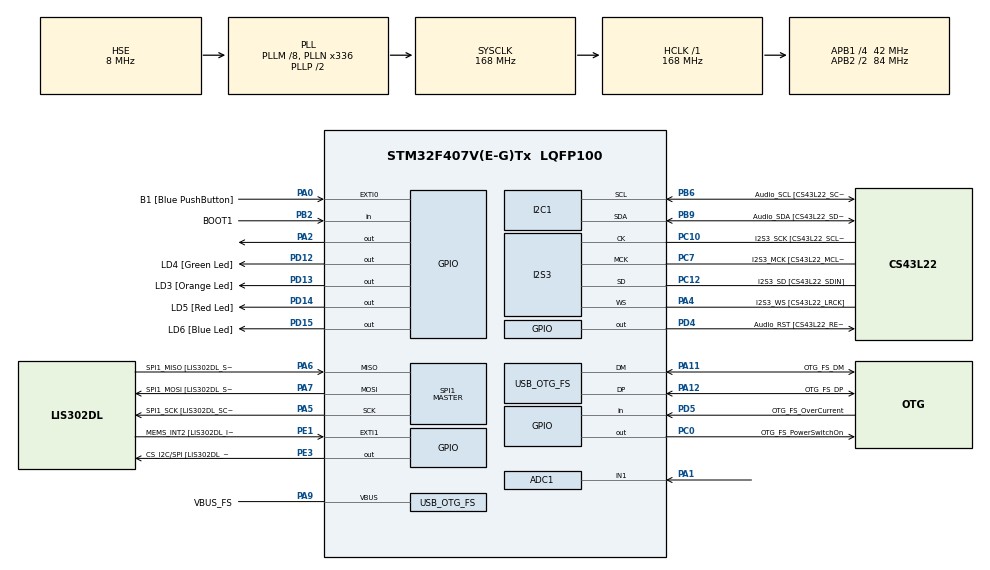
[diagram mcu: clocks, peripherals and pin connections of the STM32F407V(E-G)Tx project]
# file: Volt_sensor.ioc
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ADC1.Channel-1\#ChannelRegularConversion=ADC_CHANNEL_1
ADC1.ContinuousConvMode=ENABLE
ADC1.NbrOfConversionFlag=1
ADC1.Rank-1\#ChannelRegularConversion=1
ADC1.SamplingTime-1\#ChannelRegularConversion=ADC_SAMPLETIME_3CYCLES
ADC1.ScanConvMode=ENABLE
ADC1.master=1
I2S3.AudioFreq-Half_Duplex_Master=I2S_AUDIOFREQ_96K
I2S3.ErrorAudioFreq=-2.34 %
I2S3.ErrorAudioFreq-Half_Duplex_Master=0.8 %
I2S3.FullDuplexMode=I2S_FULLDUPLEXMODE_DISABLE
I2S3.Instance=SPI$Index
I2S3.RealAudioFreq=93.75 KHz
I2S3.RealAudioFreq-Half_Duplex_Master=96.774 KHz
I2S3.VirtualMode=I2S_MODE_MASTER
Mcu.Family=STM32F4
Mcu.Name=STM32F407V(E-G)Tx
Mcu.Package=LQFP100
NVIC.OTG_FS_IRQn=true\:0\:0\:false\:false\:true\:true\:true\:true
NVIC.PriorityGroup=NVIC_PRIORITYGROUP_0
PA0-WKUP.GPIO_Label=B1 [Blue PushButton]
PA0-WKUP.GPIO_ModeDefaultEXTI=GPIO_MODE_EVT_RISING
PA0-WKUP.GPIO_PuPd=GPIO_NOPULL
PA0-WKUP.Signal=GPXTI0
PA1.Signal=SharedAnalog_PA1
PA10.GPIO_Label=OTG_FS_ID
PA10.GPIO_Mode=GPIO_MODE_AF_PP
PA10.GPIO_PuPd=GPIO_NOPULL
PA10.GPIO_Speed=GPIO_SPEED_FREQ_LOW
PA10.Signal=USB_OTG_FS_ID
PA11.GPIO_Label=OTG_FS_DM
PA11.GPIO_Mode=GPIO_MODE_AF_PP
PA11.GPIO_PuPd=GPIO_NOPULL
PA11.GPIO_Speed=GPIO_SPEED_FREQ_LOW
PA11.Mode=Host_Only
PA11.Signal=USB_OTG_FS_DM
PA12.GPIO_Label=OTG_FS_DP
PA12.GPIO_Mode=GPIO_MODE_AF_PP
PA12.GPIO_PuPd=GPIO_NOPULL
PA12.GPIO_Speed=GPIO_SPEED_FREQ_LOW
PA12.Mode=Host_Only
PA12.Signal=USB_OTG_FS_DP
PA13.GPIO_Label=SWDIO
PA13.Mode=Serial_Wire
PA13.Signal=SYS_JTMS-SWDIO
PA14.GPIO_Label=SWCLK
PA14.Mode=Serial_Wire
PA14.Signal=SYS_JTCK-SWCLK
PA2.Signal=GPIO_Output
PA4.GPIO_Label=I2S3_WS [CS43L22_LRCK]
PA4.GPIO_Mode=GPIO_MODE_AF_PP
PA4.GPIO_PuPd=GPIO_NOPULL
PA4.GPIO_Speed=GPIO_SPEED_FREQ_LOW
PA4.Mode=Half_Duplex_Master
PA4.Signal=I2S3_WS
PA5.GPIO_Label=SPI1_SCK [LIS302DL_SCL/SPC]
PA5.GPIO_Mode=GPIO_MODE_AF_PP
PA5.GPIO_PuPd=GPIO_NOPULL
PA5.GPIO_Speed=GPIO_SPEED_FREQ_LOW
PA5.Mode=Full_Duplex_Master
PA5.Signal=SPI1_SCK
PA6.GPIO_Label=SPI1_MISO [LIS302DL_SDO]
PA6.GPIO_Mode=GPIO_MODE_AF_PP
PA6.GPIO_PuPd=GPIO_NOPULL
PA6.GPIO_Speed=GPIO_SPEED_FREQ_LOW
PA6.Mode=Full_Duplex_Master
PA6.Signal=SPI1_MISO
PA7.GPIO_Label=SPI1_MOSI [LIS302DL_SDA/SDI/SDO]
PA7.GPIO_Mode=GPIO_MODE_AF_PP
PA7.GPIO_PuPd=GPIO_NOPULL
PA7.GPIO_Speed=GPIO_SPEED_FREQ_LOW
PA7.Mode=Full_Duplex_Master
PA7.Signal=SPI1_MOSI
PA9.GPIO_Label=VBUS_FS
PA9.GPIO_Mode=GPIO_MODE_INPUT
PA9.GPIO_PuPd=GPIO_NOPULL
PA9.Mode=Activate_VBUS
PA9.Signal=USB_OTG_FS_VBUS
PB10.GPIO_Label=CLK_IN [MP45DT02_CLK]
PB10.GPIO_Mode=GPIO_MODE_AF_PP
PB10.GPIO_PuPd=GPIO_NOPULL
PB10.GPIO_Speed=GPIO_SPEED_FREQ_LOW
PB10.Signal=I2S2_CK
PB2.GPIO_Label=BOOT1
PB2.GPIO_Mode=GPIO_MODE_INPUT
PB2.GPIO_PuPd=GPIO_NOPULL
PB2.Signal=GPIO_Input
PB3.GPIO_Label=SWO
PB3.Signal=SYS_JTDO-SWO
PB6.GPIO_Label=Audio_SCL [CS43L22_SCL]
PB6.GPIO_Mode=GPIO_MODE_AF_OD
PB6.GPIO_Pu=GPIO_PULLUP
PB6.GPIO_PuPd=GPIO_NOPULL
PB6.GPIO_Speed=GPIO_SPEED_FREQ_LOW
PB6.Mode=I2C
PB6.Signal=I2C1_SCL
PB9.GPIO_Label=Audio_SDA [CS43L22_SDA]
PB9.GPIO_Mode=GPIO_MODE_AF_OD
PB9.GPIO_Pu=GPIO_PULLUP
PB9.GPIO_PuPd=GPIO_NOPULL
PB9.GPIO_Speed=GPIO_SPEED_FREQ_LOW
PB9.Mode=I2C
PB9.Signal=I2C1_SDA
PC0.GPIO_Label=OTG_FS_PowerSwitchOn
PC0.GPIO_PuPd=GPIO_NOPULL
PC0.GPIO_Speed=GPIO_SPEED_FREQ_LOW
PC0.PinState=GPIO_PIN_SET
PC0.Signal=GPIO_Output
PC10.GPIO_Label=I2S3_SCK [CS43L22_SCLK]
PC10.GPIO_Mode=GPIO_MODE_AF_PP
PC10.GPIO_PuPd=GPIO_NOPULL
PC10.GPIO_Speed=GPIO_SPEED_FREQ_LOW
PC10.Mode=Half_Duplex_Master
PC10.Signal=I2S3_CK
PC12.GPIO_Label=I2S3_SD [CS43L22_SDIN]
PC12.GPIO_Mode=GPIO_MODE_AF_PP
PC12.GPIO_PuPd=GPIO_NOPULL
PC12.GPIO_Speed=GPIO_SPEED_FREQ_LOW
PC12.Mode=Half_Duplex_Master
PC12.Signal=I2S3_SD
PC14-OSC32_IN.GPIO_Label=PC14-OSC32_IN
PC14-OSC32_IN.Mode=LSE-External-Oscillator
PC14-OSC32_IN.Signal=RCC_OSC32_IN
PC15-OSC32_OUT.GPIO_Label=PC15-OSC32_OUT
PC15-OSC32_OUT.Mode=LSE-External-Oscillator
PC15-OSC32_OUT.Signal=RCC_OSC32_OUT
PC3.GPIO_Label=PDM_OUT [MP45DT02_DOUT]
PC3.GPIO_Mode=GPIO_MODE_AF_PP
PC3.GPIO_PuPd=GPIO_NOPULL
PC3.GPIO_Speed=GPIO_SPEED_FREQ_LOW
PC3.Signal=I2S2_SD
PC7.GPIO_Label=I2S3_MCK [CS43L22_MCLK]
PC7.GPIO_Mode=GPIO_MODE_AF_PP
PC7.GPIO_PuPd=GPIO_NOPULL
PC7.GPIO_Speed=GPIO_SPEED_FREQ_LOW
PC7.Mode=Master_Clock_Activated
PC7.Signal=I2S3_MCK
PD12.GPIO_Label=LD4 [Green Led]
PD12.GPIO_PuPd=GPIO_NOPULL
PD12.GPIO_Speed=GPIO_SPEED_FREQ_LOW
PD12.Signal=GPIO_Output
PD13.GPIO_Label=LD3 [Orange Led]
PD13.GPIO_PuPd=GPIO_NOPULL
PD13.GPIO_Speed=GPIO_SPEED_FREQ_LOW
PD13.Signal=GPIO_Output
PD14.GPIO_Label=LD5 [Red Led]
PD14.GPIO_PuPd=GPIO_NOPULL
PD14.GPIO_Speed=GPIO_SPEED_FREQ_LOW
PD14.Signal=GPIO_Output
PD15.GPIO_Label=LD6 [Blue Led]
PD15.GPIO_PuPd=GPIO_NOPULL
PD15.GPIO_Speed=GPIO_SPEED_FREQ_LOW
PD15.Signal=GPIO_Output
PD4.GPIO_Label=Audio_RST [CS43L22_RESET]
PD4.GPIO_PuPd=GPIO_NOPULL
PD4.GPIO_Speed=GPIO_SPEED_FREQ_LOW
PD4.Signal=GPIO_Output
PD5.GPIO_Label=OTG_FS_OverCurrent
PD5.GPIO_Mode=GPIO_MODE_INPUT
PD5.GPIO_PuPd=GPIO_NOPULL
PD5.Signal=GPIO_Input
PE1.GPIO_Label=MEMS_INT2 [LIS302DL_INT2]
PE1.GPIO_ModeDefaultEXTI=GPIO_MODE_EVT_RISING
PE1.GPIO_PuPd=GPIO_NOPULL
PE1.Signal=GPXTI1
PE3.GPIO_Label=CS_I2C/SPI [LIS302DL_CS_I2C/SPI]
PE3.GPIO_PuPd=GPIO_NOPULL
PE3.GPIO_Speed=GPIO_SPEED_FREQ_LOW
PE3.Signal=GPIO_Output
PH0-OSC_IN.GPIO_Label=PH0-OSC_IN
PH0-OSC_IN.Mode=HSE-External-Oscillator
PH0-OSC_IN.Signal=RCC_OSC_IN
PH1-OSC_OUT.GPIO_Label=PH1-OSC_OUT
PH1-OSC_OUT.Mode=HSE-External-Oscillator
PH1-OSC_OUT.Signal=RCC_OSC_OUT
ProjectManager.HeapSize=0x200
ProjectManager.StackSize=0x400
ProjectManager.TargetToolchain=STM32CubeIDE
RCC.48MHZClocksFreq_Value=48000000
RCC.AHBFreq_Value=168000000
RCC.APB1CLKDivider=RCC_HCLK_DIV4
RCC.APB1Freq_Value=42000000
RCC.APB1TimFreq_Value=84000000
RCC.APB2CLKDivider=RCC_HCLK_DIV2
RCC.APB2Freq_Value=84000000
RCC.APB2TimFreq_Value=168000000
RCC.CortexFreq_Value=168000000
RCC.HCLKFreq_Value=168000000
RCC.HSE_VALUE=8000000
RCC.HSI_VALUE=16000000
RCC.PLLM=8
RCC.PLLN=336
RCC.PLLQ=7
RCC.SYSCLKFreq_VALUE=168000000
RCC.SYSCLKSource=RCC_SYSCLKSOURCE_PLLCLK
RCC.VCOOutputFreq_Value=336000000
SH.SharedAnalog_PA1.0=GPIO_Analog
SH.SharedAnalog_PA1.1=ADC1_IN1,IN1
SPI1.BaudRatePrescaler-Full_Duplex_Master=SPI_BAUDRATEPRESCALER_2
SPI1.CalculateBaudRate-Full_Duplex_Master=42.0 MBits/s
SPI1.Direction=SPI_DIRECTION_2LINES
SPI1.Mode=SPI_MODE_MASTER
SPI1.Mode-Full_Duplex_Master=SPI_MODE_MASTER
SPI1.VirtualType=VM_MASTER
USB_HOST.BSP.number=1
USB_HOST.USBH_HandleTypeDef-CDC_FS=hUsbHostFS
USB_HOST.VirtualModeFS=Cdc
USB_HOST0.BSP.STBoard=false
USB_HOST0.BSP.api=Unknown
USB_HOST0.BSP.instance=PC0
USB_HOST0.BSP.ip=GPIO
USB_HOST0.BSP.mode=Output
USB_HOST0.BSP.name=Drive_VBUS_FS
USB_HOST0.BSP.solution=PC0
USB_OTG_FS.VirtualMode=Host_Only
USB_OTG_FS.phy_itface=HCD_PHY_EMBEDDED
VP_USB_HOST_VS_USB_HOST_CDC_FS.Mode=CDC_FS
board=STM32F407G-DISC1

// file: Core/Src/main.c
/* USER CODE BEGIN Header */
/**
  ******************************************************************************
  * @file           : main.c
  * @brief          : Main program body
  ******************************************************************************
  * @attention
  *
  * Copyright (c) 2023 STMicroelectronics.
  * All rights reserved.
  *
  * This software is licensed under terms that can be found in the LICENSE file
  * in the root directory of this software component.
  * If no LICENSE file comes with this software, it is provided AS-IS.
  *
  ******************************************************************************
  */
/* USER CODE END Header */
#include "main.h"
#include "usb_host.h"

ADC_HandleTypeDef hadc1;

I2C_HandleTypeDef hi2c1;

I2S_HandleTypeDef hi2s3;

SPI_HandleTypeDef hspi1;

void SystemClock_Config(void);
static void MX_GPIO_Init(void);
static void MX_I2C1_Init(void);
static void MX_I2S3_Init(void);
static void MX_SPI1_Init(void);
static void MX_ADC1_Init(void);
void MX_USB_HOST_Process(void);

int main(void)
{

  /* MCU Configuration--------------------------------------------------------*/

  /* Reset of all peripherals, Initializes the Flash interface and the Systick. */
  HAL_Init();

  /* Configure the system clock */
  SystemClock_Config();

  /* Initialize all configured peripherals */
  MX_GPIO_Init();
  MX_I2C1_Init();
  MX_I2S3_Init();
  MX_SPI1_Init();
  MX_USB_HOST_Init();
  MX_ADC1_Init();

  /* Infinite loop */
  while (1)
  {
    MX_USB_HOST_Process();

    /* USER CODE BEGIN 3 */
    volatile int data;
    volatile float volt;
      	//float volt, angle;
    RCC->APB2ENR |= 1<<8; //Enable ADC1 clock
    RCC->AHB1ENR |= 1<<0; //GPIOA CLOCK

    ADC->CCR &= ~(3<<8); //PRE SCALER

    ADC1->CR1 |= 1<<8; //scan mode in CR1
    ADC1->CR1 &= ~(3<<24); //12 bit resolution in CR1 Reg

    ADC1->CR2 |= 1<<1; // cont convertion ON
    ADC1->CR2 |= 1<<10; //EOC flag is set
    ADC1->CR2 &= ~(1<<11); //data alignment right

    ADC1->SMPR2 &= ~(7<<3); //sampling time 3 ms
    GPIOA->MODER |= (3<<2); //PA1 pin set to analog Mode
    GPIOA->MODER |= (1<<0); //PA0 pin set to output mode
    ADC1->CR2 |= 1<<0; //switching on ADC1

    while(1){
    	ADC1->SQR3 = 0; //clearing sqr3 reg

    	ADC1->SQR3 |= (1<<0); //channel one first to be done

    	ADC1->SR = 0; //clear SR
    	ADC1->CR2 |= (1<<30); //SWSTART BIT in CR2 reg

    	while(!(ADC1->SR && 1<<1));// Wait for convertion

    	data = ADC1->DR;

    	volt = (double)data/4096 * 3.3;

    	if(volt > 3.0){
    		GPIOA->ODR |= 1<<0; // ODR bit of pin 1 set high
    	}else GPIOA->ODR &= ~(1<<0);

    }
  }
  /* USER CODE END 3 */
}

void SystemClock_Config(void)
{
  RCC_OscInitTypeDef RCC_OscInitStruct = {0};
  RCC_ClkInitTypeDef RCC_ClkInitStruct = {0};

  /** Configure the main internal regulator output voltage
  */
  __HAL_RCC_PWR_CLK_ENABLE();
  __HAL_PWR_VOLTAGESCALING_CONFIG(PWR_REGULATOR_VOLTAGE_SCALE1);

  /** Initializes the RCC Oscillators according to the specified parameters
  * in the RCC_OscInitTypeDef structure.
  */
  RCC_OscInitStruct.OscillatorType = RCC_OSCILLATORTYPE_HSE;
  RCC_OscInitStruct.HSEState = RCC_HSE_ON;
  RCC_OscInitStruct.PLL.PLLState = RCC_PLL_ON;
  RCC_OscInitStruct.PLL.PLLSource = RCC_PLLSOURCE_HSE;
  RCC_OscInitStruct.PLL.PLLM = 8;
  RCC_OscInitStruct.PLL.PLLN = 336;
  RCC_OscInitStruct.PLL.PLLP = RCC_PLLP_DIV2;
  RCC_OscInitStruct.PLL.PLLQ = 7;
  if (HAL_RCC_OscConfig(&RCC_OscInitStruct) != HAL_OK)
  {
    Error_Handler();
  }

  /** Initializes the CPU, AHB and APB buses clocks
  */
  RCC_ClkInitStruct.ClockType = RCC_CLOCKTYPE_HCLK|RCC_CLOCKTYPE_SYSCLK
                              |RCC_CLOCKTYPE_PCLK1|RCC_CLOCKTYPE_PCLK2;
  RCC_ClkInitStruct.SYSCLKSource = RCC_SYSCLKSOURCE_PLLCLK;
  RCC_ClkInitStruct.AHBCLKDivider = RCC_SYSCLK_DIV1;
  RCC_ClkInitStruct.APB1CLKDivider = RCC_HCLK_DIV4;
  RCC_ClkInitStruct.APB2CLKDivider = RCC_HCLK_DIV2;

  if (HAL_RCC_ClockConfig(&RCC_ClkInitStruct, FLASH_LATENCY_5) != HAL_OK)
  {
    Error_Handler();
  }
}

static void MX_ADC1_Init(void)
{

  ADC_ChannelConfTypeDef sConfig = {0};

  /** Configure the global features of the ADC (Clock, Resolution, Data Alignment and number of conversion)
  */
  hadc1.Instance = ADC1;
  hadc1.Init.ClockPrescaler = ADC_CLOCK_SYNC_PCLK_DIV4;
  hadc1.Init.Resolution = ADC_RESOLUTION_12B;
  hadc1.Init.ScanConvMode = ENABLE;
  hadc1.Init.ContinuousConvMode = ENABLE;
  hadc1.Init.DiscontinuousConvMode = DISABLE;
  hadc1.Init.ExternalTrigConvEdge = ADC_EXTERNALTRIGCONVEDGE_NONE;
  hadc1.Init.ExternalTrigConv = ADC_SOFTWARE_START;
  hadc1.Init.DataAlign = ADC_DATAALIGN_RIGHT;
  hadc1.Init.NbrOfConversion = 1;
  hadc1.Init.DMAContinuousRequests = DISABLE;
  hadc1.Init.EOCSelection = ADC_EOC_SINGLE_CONV;
  if (HAL_ADC_Init(&hadc1) != HAL_OK)
  {
    Error_Handler();
  }

  /** Configure for the selected ADC regular channel its corresponding rank in the sequencer and its sample time.
  */
  sConfig.Channel = ADC_CHANNEL_1;
  sConfig.Rank = 1;
  sConfig.SamplingTime = ADC_SAMPLETIME_3CYCLES;
  if (HAL_ADC_ConfigChannel(&hadc1, &sConfig) != HAL_OK)
  {
    Error_Handler();
  }

}

static void MX_I2C1_Init(void)
{

  hi2c1.Instance = I2C1;
  hi2c1.Init.ClockSpeed = 100000;
  hi2c1.Init.DutyCycle = I2C_DUTYCYCLE_2;
  hi2c1.Init.OwnAddress1 = 0;
  hi2c1.Init.AddressingMode = I2C_ADDRESSINGMODE_7BIT;
  hi2c1.Init.DualAddressMode = I2C_DUALADDRESS_DISABLE;
  hi2c1.Init.OwnAddress2 = 0;
  hi2c1.Init.GeneralCallMode = I2C_GENERALCALL_DISABLE;
  hi2c1.Init.NoStretchMode = I2C_NOSTRETCH_DISABLE;
  if (HAL_I2C_Init(&hi2c1) != HAL_OK)
  {
    Error_Handler();
  }

}

static void MX_I2S3_Init(void)
{

  hi2s3.Instance = SPI3;
  hi2s3.Init.Mode = I2S_MODE_MASTER_TX;
  hi2s3.Init.Standard = I2S_STANDARD_PHILIPS;
  hi2s3.Init.DataFormat = I2S_DATAFORMAT_16B;
  hi2s3.Init.MCLKOutput = I2S_MCLKOUTPUT_ENABLE;
  hi2s3.Init.AudioFreq = I2S_AUDIOFREQ_96K;
  hi2s3.Init.CPOL = I2S_CPOL_LOW;
  hi2s3.Init.ClockSource = I2S_CLOCK_PLL;
  hi2s3.Init.FullDuplexMode = I2S_FULLDUPLEXMODE_DISABLE;
  if (HAL_I2S_Init(&hi2s3) != HAL_OK)
  {
    Error_Handler();
  }

}

static void MX_SPI1_Init(void)
{

  /* SPI1 parameter configuration*/
  hspi1.Instance = SPI1;
  hspi1.Init.Mode = SPI_MODE_MASTER;
  hspi1.Init.Direction = SPI_DIRECTION_2LINES;
  hspi1.Init.DataSize = SPI_DATASIZE_8BIT;
  hspi1.Init.CLKPolarity = SPI_POLARITY_LOW;
  hspi1.Init.CLKPhase = SPI_PHASE_1EDGE;
  hspi1.Init.NSS = SPI_NSS_SOFT;
  hspi1.Init.BaudRatePrescaler = SPI_BAUDRATEPRESCALER_2;
  hspi1.Init.FirstBit = SPI_FIRSTBIT_MSB;
  hspi1.Init.TIMode = SPI_TIMODE_DISABLE;
  hspi1.Init.CRCCalculation = SPI_CRCCALCULATION_DISABLE;
  hspi1.Init.CRCPolynomial = 10;
  if (HAL_SPI_Init(&hspi1) != HAL_OK)
  {
    Error_Handler();
  }

}

static void MX_GPIO_Init(void)
{
  GPIO_InitTypeDef GPIO_InitStruct = {0};

  /* GPIO Ports Clock Enable */
  __HAL_RCC_GPIOE_CLK_ENABLE();
  __HAL_RCC_GPIOC_CLK_ENABLE();
  __HAL_RCC_GPIOH_CLK_ENABLE();
  __HAL_RCC_GPIOA_CLK_ENABLE();
  __HAL_RCC_GPIOB_CLK_ENABLE();
  __HAL_RCC_GPIOD_CLK_ENABLE();

  /*Configure GPIO pin Output Level */
  HAL_GPIO_WritePin(CS_I2C_SPI_GPIO_Port, CS_I2C_SPI_Pin, GPIO_PIN_RESET);

  /*Configure GPIO pin Output Level */
  HAL_GPIO_WritePin(OTG_FS_PowerSwitchOn_GPIO_Port, OTG_FS_PowerSwitchOn_Pin, GPIO_PIN_SET);

  /*Configure GPIO pin Output Level */
  HAL_GPIO_WritePin(GPIOA, GPIO_PIN_2, GPIO_PIN_RESET);

  /*Configure GPIO pin Output Level */
  HAL_GPIO_WritePin(GPIOD, LD4_Pin|LD3_Pin|LD5_Pin|LD6_Pin
                          |Audio_RST_Pin, GPIO_PIN_RESET);

  /*Configure GPIO pin : CS_I2C_SPI_Pin */
  GPIO_InitStruct.Pin = CS_I2C_SPI_Pin;
  GPIO_InitStruct.Mode = GPIO_MODE_OUTPUT_PP;
  GPIO_InitStruct.Pull = GPIO_NOPULL;
  GPIO_InitStruct.Speed = GPIO_SPEED_FREQ_LOW;
  HAL_GPIO_Init(CS_I2C_SPI_GPIO_Port, &GPIO_InitStruct);

  /*Configure GPIO pin : OTG_FS_PowerSwitchOn_Pin */
  GPIO_InitStruct.Pin = OTG_FS_PowerSwitchOn_Pin;
  GPIO_InitStruct.Mode = GPIO_MODE_OUTPUT_PP;
  GPIO_InitStruct.Pull = GPIO_NOPULL;
  GPIO_InitStruct.Speed = GPIO_SPEED_FREQ_LOW;
  HAL_GPIO_Init(OTG_FS_PowerSwitchOn_GPIO_Port, &GPIO_InitStruct);

  /*Configure GPIO pin : PDM_OUT_Pin */
  GPIO_InitStruct.Pin = PDM_OUT_Pin;
  GPIO_InitStruct.Mode = GPIO_MODE_AF_PP;
  GPIO_InitStruct.Pull = GPIO_NOPULL;
  GPIO_InitStruct.Speed = GPIO_SPEED_FREQ_LOW;
  GPIO_InitStruct.Alternate = GPIO_AF5_SPI2;
  HAL_GPIO_Init(PDM_OUT_GPIO_Port, &GPIO_InitStruct);

  /*Configure GPIO pin : B1_Pin */
  GPIO_InitStruct.Pin = B1_Pin;
  GPIO_InitStruct.Mode = GPIO_MODE_EVT_RISING;
  GPIO_InitStruct.Pull = GPIO_NOPULL;
  HAL_GPIO_Init(B1_GPIO_Port, &GPIO_InitStruct);

  /*Configure GPIO pin : PA2 */
  GPIO_InitStruct.Pin = GPIO_PIN_2;
  GPIO_InitStruct.Mode = GPIO_MODE_OUTPUT_PP;
  GPIO_InitStruct.Pull = GPIO_NOPULL;
  GPIO_InitStruct.Speed = GPIO_SPEED_FREQ_LOW;
  HAL_GPIO_Init(GPIOA, &GPIO_InitStruct);

  /*Configure GPIO pin : BOOT1_Pin */
  GPIO_InitStruct.Pin = BOOT1_Pin;
  GPIO_InitStruct.Mode = GPIO_MODE_INPUT;
  GPIO_InitStruct.Pull = GPIO_NOPULL;
  HAL_GPIO_Init(BOOT1_GPIO_Port, &GPIO_InitStruct);

  /*Configure GPIO pin : CLK_IN_Pin */
  GPIO_InitStruct.Pin = CLK_IN_Pin;
  GPIO_InitStruct.Mode = GPIO_MODE_AF_PP;
  GPIO_InitStruct.Pull = GPIO_NOPULL;
  GPIO_InitStruct.Speed = GPIO_SPEED_FREQ_LOW;
  GPIO_InitStruct.Alternate = GPIO_AF5_SPI2;
  HAL_GPIO_Init(CLK_IN_GPIO_Port, &GPIO_InitStruct);

  /*Configure GPIO pins : LD4_Pin LD3_Pin LD5_Pin LD6_Pin
                           Audio_RST_Pin */
  GPIO_InitStruct.Pin = LD4_Pin|LD3_Pin|LD5_Pin|LD6_Pin
                          |Audio_RST_Pin;
  GPIO_InitStruct.Mode = GPIO_MODE_OUTPUT_PP;
  GPIO_InitStruct.Pull = GPIO_NOPULL;
  GPIO_InitStruct.Speed = GPIO_SPEED_FREQ_LOW;
  HAL_GPIO_Init(GPIOD, &GPIO_InitStruct);

  /*Configure GPIO pin : OTG_FS_OverCurrent_Pin */
  GPIO_InitStruct.Pin = OTG_FS_OverCurrent_Pin;
  GPIO_InitStruct.Mode = GPIO_MODE_INPUT;
  GPIO_InitStruct.Pull = GPIO_NOPULL;
  HAL_GPIO_Init(OTG_FS_OverCurrent_GPIO_Port, &GPIO_InitStruct);

  /*Configure GPIO pin : MEMS_INT2_Pin */
  GPIO_InitStruct.Pin = MEMS_INT2_Pin;
  GPIO_InitStruct.Mode = GPIO_MODE_EVT_RISING;
  GPIO_InitStruct.Pull = GPIO_NOPULL;
  HAL_GPIO_Init(MEMS_INT2_GPIO_Port, &GPIO_InitStruct);

}

void Error_Handler(void)
{
  __disable_irq();
  while (1)
  {
  }
}
